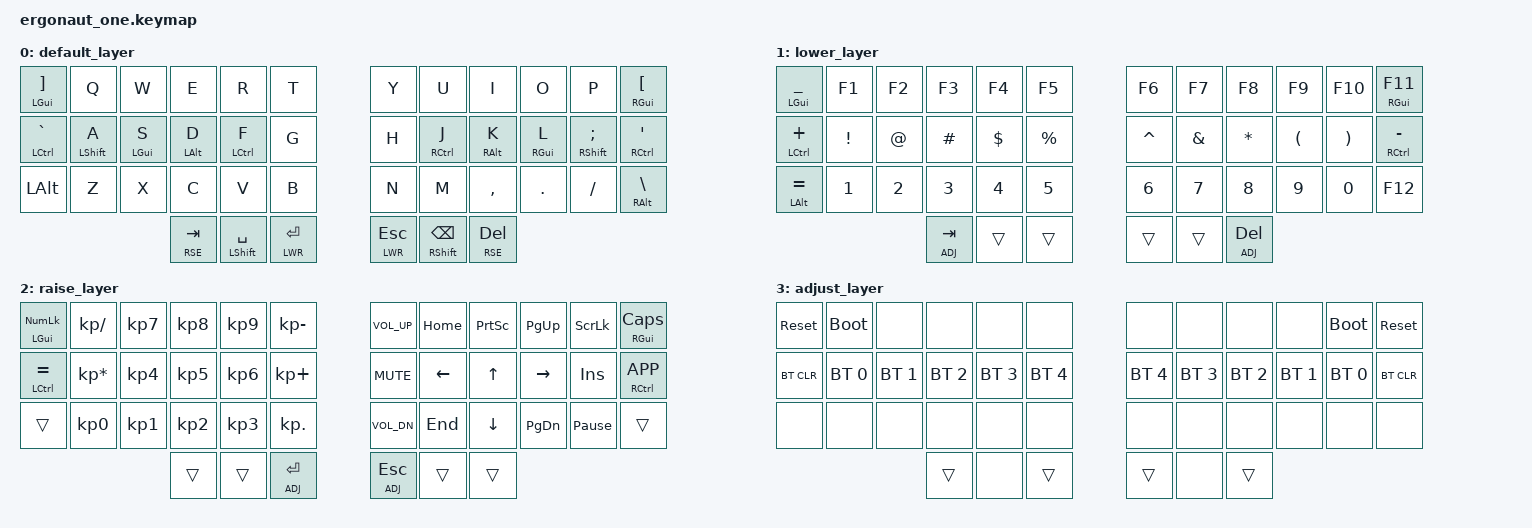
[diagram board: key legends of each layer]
#include <behaviors.dtsi>
#include <dt-bindings/zmk/keys.h>
#include <dt-bindings/zmk/bt.h>

#define DEF 0
#define LWR 1
#define RSE 2
#define ADJ 3

&lt {
    quick-tap-ms = <200>;
};

&mt {
    quick-tap-ms = <200>;
};

/ {
    conditional_layers {
        compatible = "zmk,conditional-layers";

        tri-layer {
            if-layers = <1 2>;
            then-layer = <3>;
        };
    };

    behaviors {
        hm: homerow_mods {
            compatible = "zmk,behavior-hold-tap";
            #binding-cells = <2>;
            tapping-term-ms = <150>;
            quick-tap-ms = <0>;
            flavor = "tap-preferred";
            bindings = <&kp>, <&kp>;
        };
    };

    keymap {
                compatible = "zmk,keymap";

                default_layer {
// -----------------------------------------------------------------------------------------
// |   ~  |  Q  |  W  |  E  |  R  |  T  |   |  Y  |  U   |  I  |  O  |  P  |  [   |
// | CTRL |  A  |  S  |  D  |  F  |  G  |   |  H  |  J   |  K  |  L  |  ;  |CTRL/'|
// | LALT |  Z  |  X  |  C  |  V  |  B  |   |  N  |  M   |  ,  |  .  |  /  | RALT |
//                    | RSE | SPC | LWR |   | LWR | BKSP | RSE |
                        bindings = <
   &mt LGUI RBKT   &kp Q       &kp W      &kp E      &kp R       &kp T   &kp Y         &kp U        &kp I       &kp O      &kp P          &mt RGUI LBKT
   &mt LCTRL GRAVE &hm LSHFT A &hm LGUI S &hm LALT D &hm LCTRL F &kp G   &kp H         &hm RCTRL J  &hm RALT K  &hm RGUI L &hm RSHFT SEMI &mt RCTRL SQT
   &kp LALT        &kp Z       &kp X      &kp C      &kp V       &kp B   &kp N         &kp M        &kp COMMA   &kp DOT    &kp FSLH       &mt RALT BSLH
                      &lt RSE TAB &mt LSHFT SPACE &lt LWR RET       &lt LWR ESC &mt RSHFT BSPC &lt RSE DEL
                        >;
                };
                lower_layer {
// -----------------------------------------------------------------------------------------
// |  _  |  F1 |  F2 |  F3 |  F4 |  F5 |   |  F6 |  F7 |  F8 |  F9 | F10 | F11 | F12 |
// |  +  |  !  |  @  |  #  |  $  |  %  |   |  ^  |  &  |  *  |  (  |  )  |  -  |
// |  =  |  1  |  2  |  3  |  4  |  5  |   |  6  |  7  |  8  |  9  |  0  |     |
//              | GUI |     | SPC |   | ENT |     | ALT |
                        bindings = <
   &mt LGUI UNDER &kp F1   &kp F2 &kp F3   &kp F4   &kp F5           &kp F6    &kp F7   &kp F8   &kp F9   &kp F10  &mt RGUI F11
   &mt LCTRL PLUS &kp EXCL &kp AT &kp HASH &kp DLLR &kp PRCNT        &kp CARET &kp AMPS &kp STAR &kp LPAR &kp RPAR &mt RCTRL MINUS
   &mt LALT EQUAL &kp N1   &kp N2 &kp N3   &kp N4   &kp N5           &kp N6    &kp N7   &kp N8   &kp N9   &kp N0   &kp F12
                                       &lt ADJ TAB &trans &trans   &trans &trans &lt ADJ DEL
                        >;
                };

                raise_layer {
// -----------------------------------------------------------------------------------------
// | NMLK |  /  |  7  |  8  |  9  |  -  |   | VOLU| HOME| PRSC| PGUP| SCLK| CLCK|
// | CTRL |  *  |  4  |  5  |  6  |  +  |   | MUT | LEFT|  UP | RGHT| INS | APP |
// |      |  0  |  1  |  2  |  3  |  .  |   | VOLD| END | DOWN| PGDN| PAUS|     |
//                          |     |     | ADJ |   | ADJ |     |     |
                        bindings = <
   &mt LGUI KP_NUM &kp KP_SLASH    &kp KP_N7 &kp KP_N8 &kp KP_N9 &kp KP_MINUS        &kp C_VOL_UP &kp HOME &kp PSCRN &kp PG_UP &kp SLCK &mt RGUI CAPS
   &mt LCTRL EQUAL &kp KP_MULTIPLY &kp KP_N4 &kp KP_N5 &kp KP_N6 &kp KP_PLUS         &kp C_MUTE   &kp LEFT &kp UP    &kp RIGHT &kp INS  &mt RCTRL K_APP
   &trans          &kp KP_N0       &kp KP_N1 &kp KP_N2 &kp KP_N3 &kp KP_DOT          &kp C_VOL_DN &kp END  &kp DOWN  &kp PG_DN &kp PAUSE_BREAK &trans
                                                    &trans &trans &lt ADJ RET   &lt ADJ ESC &trans &trans
                        >;
                };
                adjust_layer {
// -----------------------------------------------------------------------------------------
// | RST  | BLDR|     |     |     |     |   |     |     |     |     | BLDR| RST  |
// | BTCLR| BT0 | BT1 | BT2 | BT3 | BT4 |   | BT4 | BT3 | BT2 | BT1 | BT0 | BTCLR|
// |      |     |     |     |     |     |   |     |     |     |     |     |      |
//                    |     |     |     |   |     |     |     |
                        bindings = <
   &sys_reset &bootloader  &none        &none        &none        &none              &none        &none        &none        &none        &bootloader   &sys_reset
   &bt BT_CLR &bt BT_SEL 0 &bt BT_SEL 1 &bt BT_SEL 2 &bt BT_SEL 3 &bt BT_SEL 4       &bt BT_SEL 4 &bt BT_SEL 3 &bt BT_SEL 2 &bt BT_SEL 1 &bt BT_SEL 0  &bt BT_CLR
   &none      &none        &none        &none        &none        &none              &none        &none        &none        &none        &none         &none
                                                           &trans &none &trans       &trans &none &trans
                        >;
                };
        };
};
